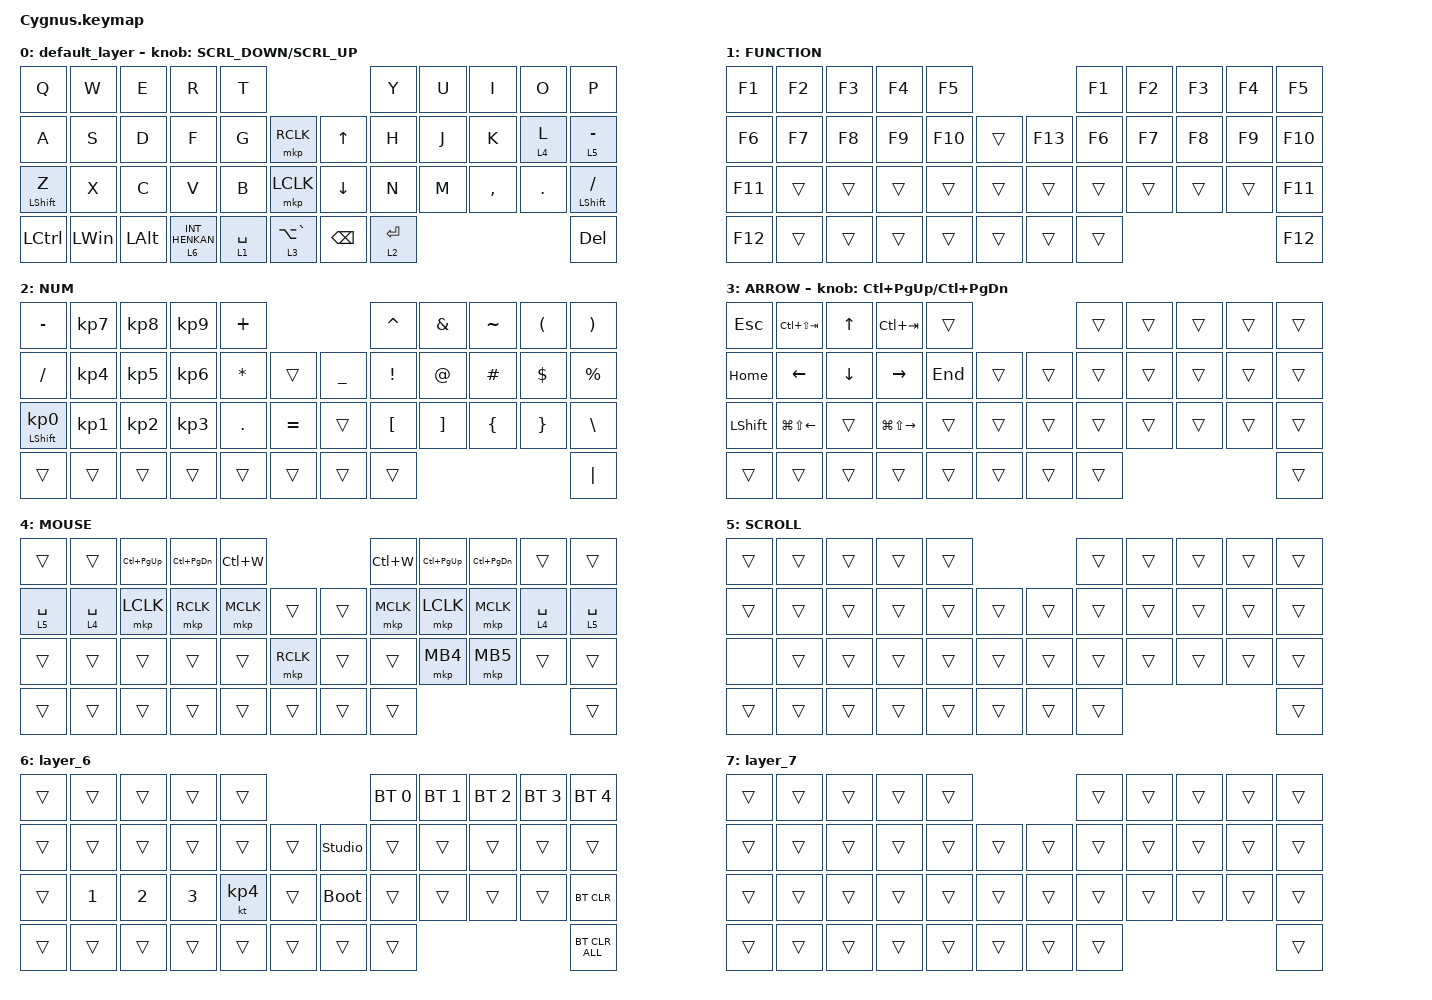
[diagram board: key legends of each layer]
#define ZMK_POINTING_DEFAULT_SCRL_VAL 120    // default: 10

#include <behaviors.dtsi>
#include <dt-bindings/zmk/bt.h>
#include <dt-bindings/zmk/keys.h>
#include <dt-bindings/zmk/pointing.h>

#define MOUSE 4
#define SCROLL 5
#define NUM 6

&mt {
    flavor = "balanced";
    quick-tap-ms = <0>;
};

/ {
    combos {
        compatible = "zmk,combos";

        double_quotation {
            bindings = <&kp DOUBLE_QUOTES>;
            key-positions = <20 21>;
        };
    };

    macros {
        to_layer_0: to_layer_0 {
            compatible = "zmk,behavior-macro-one-param";
            #binding-cells = <1>;
            bindings = <&to 0 &macro_param_1to1 &kp MACRO_PLACEHOLDER>;
            label = "TO_LAYER_0";
        };
    };

    behaviors {
        lt_to_layer_0: lt_to_layer_0 {
            compatible = "zmk,behavior-hold-tap";
            label = "LAYER_TAP_TO_0";
            bindings = <&mo>, <&to_layer_0>;

            #binding-cells = <2>;
            tapping-term-ms = <200>;
        };

        ROTATE: ROTATE {
            compatible = "zmk,behavior-sensor-rotate-var";
            label = "ROTATE";
            #sensor-binding-cells = <2>;
            bindings = <&msc>, <&msc>;

            tap-ms = <20>;
        };
    };

    keymap {
        compatible = "zmk,keymap";

        default_layer {
            bindings = <
&kp Q             &kp W         &kp E         &kp R             &kp T                                             &kp Y        &kp U  &kp I      &kp O    &kp P
&kp A             &kp S         &kp D         &kp F             &kp G        &mkp RCLK            &kp UP_ARROW    &kp H        &kp J  &kp K      &lt 4 L  &lt 5 MINUS
&mt LEFT_SHIFT Z  &kp X         &kp C         &kp V             &kp B        &mkp LCLK            &kp DOWN_ARROW  &kp N        &kp M  &kp COMMA  &kp DOT  &mt LEFT_SHIFT SLASH
&kp LCTRL         &kp LEFT_WIN  &kp LEFT_ALT  &lt 6 INT_HENKAN  &lt 1 SPACE  &lt 3 LA(GRAVE)      &kp BACKSPACE   &lt 2 ENTER                             &kp DEL
            >;

            sensor-bindings = <&ROTATE SCRL_DOWN SCRL_UP>;
        };

        FUNCTION {
            bindings = <
&kp F1   &kp F2  &kp F3  &kp F4  &kp F5                        &kp F1  &kp F2  &kp F3  &kp F4  &kp F5
&kp F6   &kp F7  &kp F8  &kp F9  &kp F10  &trans      &kp F13  &kp F6  &kp F7  &kp F8  &kp F9  &kp F10
&kp F11  &trans  &trans  &trans  &trans   &trans      &trans   &trans  &trans  &trans  &trans  &kp F11
&kp F12  &trans  &trans  &trans  &trans   &trans      &trans   &trans                          &kp F12
            >;
        };

        NUM {
            bindings = <
&kp MINUS                   &kp KP_NUMBER_7  &kp KP_NUMBER_8  &kp KP_NUMBER_9  &kp PLUS                                     &kp CARET         &kp AMPERSAND      &kp TILDE       &kp LEFT_PARENTHESIS  &kp RIGHT_PARENTHESIS
&kp SLASH                   &kp KP_NUMBER_4  &kp KP_NUMBER_5  &kp KP_NUMBER_6  &kp ASTERISK  &trans         &kp UNDERSCORE  &kp EXCLAMATION   &kp AT_SIGN        &kp HASH        &kp DOLLAR            &kp PERCENT
&mt LEFT_SHIFT KP_NUMBER_0  &kp KP_NUMBER_1  &kp KP_NUMBER_2  &kp KP_NUMBER_3  &kp PERIOD    &kp EQUAL      &trans          &kp LEFT_BRACKET  &kp RIGHT_BRACKET  &kp LEFT_BRACE  &kp RIGHT_BRACE       &kp BACKSLASH
&trans                      &trans           &trans           &trans           &trans        &trans         &trans          &trans                                                                     &kp PIPE
            >;
        };

        ARROW {
            bindings = <
&kp ESCAPE      &kp LC(LS(TAB))         &kp UP_ARROW    &kp LC(TAB)              &trans                       &trans  &trans  &trans  &trans  &trans
&kp HOME        &kp LEFT_ARROW          &kp DOWN_ARROW  &kp RIGHT_ARROW          &kp END  &trans      &trans  &trans  &trans  &trans  &trans  &trans
&kp LEFT_SHIFT  &kp LG(LS(LEFT_ARROW))  &trans          &kp LG(LS(RIGHT_ARROW))  &trans   &trans      &trans  &trans  &trans  &trans  &trans  &trans
&trans          &trans                  &trans          &trans                   &trans   &trans      &trans  &trans                          &trans
            >;

            sensor-bindings = <&inc_dec_kp LC(PAGE_UP) LC(PAGE_DOWN)>;
        };

        MOUSE {
            bindings = <
&trans       &trans       &kp LC(PAGE_UP)  &kp LC(PAGE_DOWN)  &kp LC(W)                         &kp LC(W)  &kp LC(PAGE_UP)  &kp LC(PAGE_DOWN)  &trans       &trans
&lt 5 SPACE  &lt 4 SPACE  &mkp LCLK        &mkp RCLK          &mkp MCLK  &trans         &trans  &mkp MCLK  &mkp LCLK        &mkp MCLK          &lt 4 SPACE  &lt 5 SPACE
&trans       &trans       &trans           &trans             &trans     &mkp RCLK      &trans  &trans     &mkp MB4         &mkp MB5           &trans       &trans
&trans       &trans       &trans           &trans             &trans     &trans         &trans  &trans                                                      &trans
            >;
        };

        SCROLL {
            bindings = <
&trans  &trans  &trans  &trans  &trans                      &trans  &trans  &trans  &trans  &trans
&trans  &trans  &trans  &trans  &trans  &trans      &trans  &trans  &trans  &trans  &trans  &trans
&none   &trans  &trans  &trans  &trans  &trans      &trans  &trans  &trans  &trans  &trans  &trans
&trans  &trans  &trans  &trans  &trans  &trans      &trans  &trans                          &trans
            >;
        };

        layer_6 {
            bindings = <
&trans  &trans        &trans        &trans        &trans                                 &bt BT_SEL 0  &bt BT_SEL 1  &bt BT_SEL 2  &bt BT_SEL 3  &bt BT_SEL 4
&trans  &trans        &trans        &trans        &trans     &trans      &studio_unlock  &trans        &trans        &trans        &trans        &trans
&trans  &kp NUMBER_1  &kp NUMBER_2  &kp NUMBER_3  &kt KP_N4  &trans      &bootloader     &trans        &trans        &trans        &trans        &bt BT_CLR
&trans  &trans        &trans        &trans        &trans     &trans      &trans          &trans                                                  &bt BT_CLR_ALL
            >;
        };

        layer_7 {
            bindings = <
&trans  &trans  &trans  &trans  &trans                      &trans  &trans  &trans  &trans  &trans
&trans  &trans  &trans  &trans  &trans  &trans      &trans  &trans  &trans  &trans  &trans  &trans
&trans  &trans  &trans  &trans  &trans  &trans      &trans  &trans  &trans  &trans  &trans  &trans
&trans  &trans  &trans  &trans  &trans  &trans      &trans  &trans                          &trans
            >;
        };
    };
};
